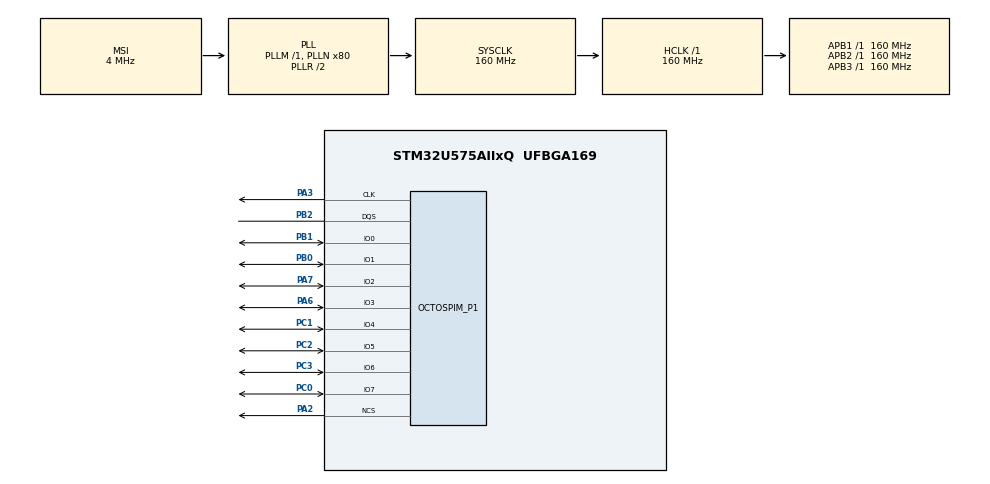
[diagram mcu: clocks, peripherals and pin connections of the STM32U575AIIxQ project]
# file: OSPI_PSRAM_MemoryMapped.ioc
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CORTEX_M33_NS.userName=CORTEX_M33
DCACHE1.DCACHE_Read_Burst_Type=DCACHE_READ_BURST_INCR
Mcu.Family=STM32U5
Mcu.Name=STM32U575AIIxQ
Mcu.Package=UFBGA169
NVIC.OCTOSPI1_IRQn=true\:0\:0\:false\:false\:true\:true\:true\:true
NVIC.PriorityGroup=NVIC_PRIORITYGROUP_4
OCTOSPI1.ChipSelectBoundary=10
OCTOSPI1.ChipSelectHighTime=2
OCTOSPI1.ClockPrescaler=2
OCTOSPI1.DelayBlockBypass=HAL_OSPI_DELAY_BLOCK_USED
OCTOSPI1.DelayHoldQuarterCycle=HAL_OSPI_DHQC_ENABLE
OCTOSPI1.DeviceSize=23
OCTOSPI1.FifoThreshold=1
OCTOSPI1.MemoryType=HAL_OSPI_MEMTYPE_APMEMORY
OCTOSPI1.PhaseSel=0
OCTOSPI1.Refresh=320
OCTOSPI1.Units=0
PA2.GPIO_PuPd=GPIO_NOPULL
PA2.GPIO_Speed_High_Default=GPIO_SPEED_FREQ_HIGH
PA2.Mode=OCTOSPI1_Port1_NCS
PA2.Signal=OCTOSPIM_P1_NCS
PA3.GPIO_Speed_High_Default=GPIO_SPEED_FREQ_HIGH
PA3.Mode=O1_P1_CLK
PA3.Signal=OCTOSPIM_P1_CLK
PA6.GPIO_Speed_High_Default=GPIO_SPEED_FREQ_HIGH
PA6.Mode=OCTOSPI1_IOL_Port1L
PA6.Signal=OCTOSPIM_P1_IO3
PA7.GPIO_Speed_High_Default=GPIO_SPEED_FREQ_HIGH
PA7.Mode=OCTOSPI1_IOL_Port1L
PA7.Signal=OCTOSPIM_P1_IO2
PB0.GPIO_Speed_High_Default=GPIO_SPEED_FREQ_HIGH
PB0.Mode=OCTOSPI1_IOL_Port1L
PB0.Signal=OCTOSPIM_P1_IO1
PB1.GPIO_Speed_High_Default=GPIO_SPEED_FREQ_HIGH
PB1.Mode=OCTOSPI1_IOL_Port1L
PB1.Signal=OCTOSPIM_P1_IO0
PB12.GPIO_Speed_High_Default=GPIO_SPEED_FREQ_HIGH
PB12.Signal=OCTOSPIM_P1_NCLK
PB2.GPIO_PuPd=GPIO_NOPULL
PB2.GPIO_Speed_High_Default=GPIO_SPEED_FREQ_HIGH
PB2.Mode=OCTOSPI1_Port1_DQS
PB2.Signal=OCTOSPIM_P1_DQS
PC0.GPIO_Speed_High_Default=GPIO_SPEED_FREQ_HIGH
PC0.Mode=OCTOSPI1_IOH_Port1H
PC0.Signal=OCTOSPIM_P1_IO7
PC1.GPIO_Speed_High_Default=GPIO_SPEED_FREQ_HIGH
PC1.Mode=OCTOSPI1_IOH_Port1H
PC1.Signal=OCTOSPIM_P1_IO4
PC2.GPIO_Speed_High_Default=GPIO_SPEED_FREQ_HIGH
PC2.Mode=OCTOSPI1_IOH_Port1H
PC2.Signal=OCTOSPIM_P1_IO5
PC3.GPIO_Speed_High_Default=GPIO_SPEED_FREQ_HIGH
PC3.Mode=OCTOSPI1_IOH_Port1H
PC3.Signal=OCTOSPIM_P1_IO6
PWR.PowerMode=PWR_SMPS_SUPPLY
ProjectManager.HeapSize=0x200
ProjectManager.StackSize=0x1000
ProjectManager.TargetToolchain=EWARM V8.50
RCC.ADCFreq_Value=16000000
RCC.AHBFreq_Value=160000000
RCC.APB1Freq_Value=160000000
RCC.APB1TimFreq_Value=160000000
RCC.APB2Freq_Value=160000000
RCC.APB2TimFreq_Value=160000000
RCC.APB3Freq_Value=160000000
RCC.CortexFreq_Value=160000000
RCC.DACCLockSelectionVirtual=RCC_DAC1CLKSOURCE_LSI
RCC.DACCLockSelectionVirtualString=RCC_DAC1CLKSOURCE_LSI
RCC.EPOD_VALUE=4000000
RCC.HCLKFreq_Value=160000000
RCC.HSE_VALUE=16000000
RCC.HSI48_VALUE=48000000
RCC.HSI_VALUE=16000000
RCC.LSE_VALUE=32768
RCC.LSIDIV_VALUE=32000
RCC.MSI_VALUE=4000000
RCC.PLLN=80
RCC.SYSCLKFreq_VALUE=160000000
RCC.SYSCLKSource=RCC_SYSCLKSOURCE_PLLCLK
RCC.USBFreq_Value=48000000
RCC.VCOOutputFreq_Value=320000000
VP_DCACHE1_VS_DCACHE.Mode=DCACHE_Activate
VP_ICACHE_VS_ICACHE.Mode=DirectMappedCache
VP_LPBAMQUEUE_VS_QUEUE.Mode=QUEUEMODE
VP_LPBAM_VS_SIG1.Mode=SmartRun
VP_LPBAM_VS_SIG4.Mode=LPDMA1
VP_OCTOSPI1_VS_octo.Mode=octo_mode
VP_PWR_VS_DBSignals.Mode=DisableDeadBatterySignals
VP_PWR_VS_LPOM.Mode=PowerOptimisation
VP_PWR_VS_SECSignals.Mode=Security/Privilege
board=custom

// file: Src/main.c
/* USER CODE BEGIN Header */
/**
  ******************************************************************************
  * @file           : main.c
  * @brief          : Main program body
  ******************************************************************************
  * @attention
  *
  * Copyright (c) 2021 STMicroelectronics.
  * All rights reserved.
  *
  * This software is licensed under terms that can be found in the LICENSE file
  * in the root directory of this software component.
  * If no LICENSE file comes with this software, it is provided AS-IS.
  *
  ******************************************************************************
  */
/* USER CODE END Header */
#include "main.h"

DCACHE_HandleTypeDef hdcache1;

OSPI_HandleTypeDef hospi1;

/* USER CODE BEGIN PV */
__IO uint8_t *mem_addr;
uint8_t CmdCplt, TxCplt , StatusMatch , RxCplt;
OSPI_MemoryMappedTypeDef sMemMappedCfg;
LL_DLYB_CfgTypeDef dlyb_cfg,dlyb_cfg_test;

/* Buffer used for transmission */
uint8_t aTxBuffer[BUFFERSIZE];
/* USER CODE END PV */

void SystemClock_Config(void);
static void SystemPower_Config(void);
static void MX_GPIO_Init(void);
static void MX_DCACHE1_Init(void);
static void MX_ICACHE_Init(void);
static void MX_OCTOSPI1_Init(void);
/* USER CODE BEGIN PFP */
void Configure_APMemory(void);
void EnableCompensationCell(void);
uint32_t APS6408_WriteReg(OSPI_HandleTypeDef *Ctx, uint32_t Address, uint8_t *Value);
uint32_t APS6408_ReadReg(OSPI_HandleTypeDef *Ctx, uint32_t Address, uint8_t *Value, uint32_t LatencyCode);
/* USER CODE END PFP */

int main(void)
{

  /* USER CODE BEGIN 1 */
  OSPI_RegularCmdTypeDef sCommand = {0};
  uint32_t index, index_K;
  uint16_t errorBuffer = 0;
  /* STM32U5xx HAL library initialization:
  - Configure the Flash prefetch
  - Configure the Systick to generate an interrupt each 1 msec
  - Set NVIC Group Priority to 3
  - Low Level Initialization
  */
  /* USER CODE END 1 */

  /* MCU Configuration--------------------------------------------------------*/

  /* Reset of all peripherals, Initializes the Flash interface and the Systick. */
  HAL_Init();

  /* Configure the System Power */
  SystemPower_Config();

  /* Configure the system clock */
  SystemClock_Config();

  /* Initialize all configured peripherals */
  MX_GPIO_Init();
  MX_DCACHE1_Init();
  MX_ICACHE_Init();
  MX_OCTOSPI1_Init();
  /* USER CODE BEGIN 2 */
  BSP_LED_Init(LED_GREEN);
  BSP_LED_Init(LED_RED);
  /* Enable Compensation cell */
  EnableCompensationCell();
  /* Delay block configuration ------------------------------------------------ */
  if (HAL_OSPI_DLYB_GetClockPeriod(&hospi1,&dlyb_cfg) != HAL_OK)
  {
    Error_Handler() ;
  }

  /*when DTR, PhaseSel is divided by 4 (emperic value)*/
  dlyb_cfg.PhaseSel /=4;

  /* save the present configuration for check*/
  dlyb_cfg_test = dlyb_cfg;

  /*set delay block configuration*/
  HAL_OSPI_DLYB_SetConfig(&hospi1,&dlyb_cfg);

  /*check the set value*/
  HAL_OSPI_DLYB_GetConfig(&hospi1,&dlyb_cfg);
  if ((dlyb_cfg.PhaseSel != dlyb_cfg_test.PhaseSel) || (dlyb_cfg.Units != dlyb_cfg_test.Units))
  {
    Error_Handler() ;
  }

  /*Configure AP memory register */
  Configure_APMemory();

  /*Configure Memory Mapped mode*/
  sCommand.OperationType      = HAL_OSPI_OPTYPE_WRITE_CFG;
  sCommand.FlashId            = HAL_OSPI_FLASH_ID_1;
  sCommand.Instruction        = WRITE_CMD;
  sCommand.InstructionMode    = HAL_OSPI_INSTRUCTION_8_LINES;
  sCommand.InstructionSize    = HAL_OSPI_INSTRUCTION_16_BITS;
  sCommand.InstructionDtrMode = HAL_OSPI_INSTRUCTION_DTR_ENABLE;
  sCommand.AddressMode        = HAL_OSPI_ADDRESS_8_LINES;
  sCommand.AddressSize        = HAL_OSPI_ADDRESS_32_BITS;
  sCommand.AddressDtrMode     = HAL_OSPI_ADDRESS_DTR_ENABLE;
  sCommand.AlternateBytesMode = HAL_OSPI_ALTERNATE_BYTES_NONE;
  sCommand.DataMode           = HAL_OSPI_DATA_8_LINES;
  sCommand.DataDtrMode        = HAL_OSPI_DATA_DTR_ENABLE;
  sCommand.DummyCycles        = DUMMY_CLOCK_CYCLES_WRITE;
  sCommand.DQSMode            = HAL_OSPI_DQS_ENABLE;
  sCommand.SIOOMode           = HAL_OSPI_SIOO_INST_EVERY_CMD;

  if (HAL_OSPI_Command(&hospi1, &sCommand, HAL_OSPI_TIMEOUT_DEFAULT_VALUE) != HAL_OK)
  {
    Error_Handler();
  }

  sCommand.OperationType = HAL_OSPI_OPTYPE_READ_CFG;
  sCommand.Instruction   = READ_CMD;
  sCommand.DummyCycles   = DUMMY_CLOCK_CYCLES_READ;

  if (HAL_OSPI_Command(&hospi1, &sCommand, HAL_OSPI_TIMEOUT_DEFAULT_VALUE) != HAL_OK)
  {
    Error_Handler();
  }

  sMemMappedCfg.TimeOutActivation = HAL_OSPI_TIMEOUT_COUNTER_ENABLE;
  sMemMappedCfg.TimeOutPeriod     = 0x34;

  if (HAL_OSPI_MemoryMapped(&hospi1, &sMemMappedCfg) != HAL_OK)
  {
    Error_Handler();
  }

  /*fill aTxBuffer */
  for (index_K = 0; index_K < 10; index_K++)
  {
    for (index = (index_K  * KByte); index < ((index_K +1) * KByte); index++)
    {
      aTxBuffer[index]=index + index_K;
    }
  }

  /* Writing Sequence ----------------------------------------------- */
  index_K=0;
  for (index_K = 0; index_K < 10; index_K++)
  {
    mem_addr = (uint8_t *)(OCTOSPI1_BASE + (index_K * KByte));
    for (index = (index_K  * KByte); index < ((index_K +1) * KByte); index++)
    {
      *mem_addr = aTxBuffer[index];
      mem_addr++;
    }

    /* In memory-mapped mode, not possible to check if the memory is ready
    after the programming. So a delay corresponding to max page programming
    time is added */
    HAL_Delay(1);
  }

  /* Reading Sequence ----------------------------------------------- */
  index_K=0;
  for (index_K = 0; index_K < 10; index_K++)
  {
    mem_addr = (uint8_t *)(OCTOSPI1_BASE + (index_K * KByte));
    for (index = (index_K  * KByte); index < ((index_K +1) * KByte); index++)
    {
      if (*mem_addr != aTxBuffer[index])
      {
        BSP_LED_On(LED_RED);
        errorBuffer++;
      }
      mem_addr++;
    }
  }
  if (errorBuffer == 0)
  {
    /* Turn LED7 on */
    BSP_LED_On(LED_GREEN);
  }

  /* Abort OctoSPI driver to stop the memory-mapped mode ------------ */
  if (HAL_OSPI_Abort(&hospi1) != HAL_OK)
  {
    Error_Handler();
  }
  /* USER CODE END 2 */

  /* Infinite loop */
  while (1)
  {

  }
}

void SystemClock_Config(void)
{
  RCC_OscInitTypeDef RCC_OscInitStruct = {0};
  RCC_ClkInitTypeDef RCC_ClkInitStruct = {0};

  /** Configure the main internal regulator output voltage
  */
  if (HAL_PWREx_ControlVoltageScaling(PWR_REGULATOR_VOLTAGE_SCALE1) != HAL_OK)
  {
    Error_Handler();
  }

  /** Initializes the CPU, AHB and APB buses clocks
  */
  RCC_OscInitStruct.OscillatorType = RCC_OSCILLATORTYPE_MSI;
  RCC_OscInitStruct.MSIState = RCC_MSI_ON;
  RCC_OscInitStruct.MSICalibrationValue = RCC_MSICALIBRATION_DEFAULT;
  RCC_OscInitStruct.MSIClockRange = RCC_MSIRANGE_4;
  RCC_OscInitStruct.PLL.PLLState = RCC_PLL_ON;
  RCC_OscInitStruct.PLL.PLLSource = RCC_PLLSOURCE_MSI;
  RCC_OscInitStruct.PLL.PLLMBOOST = RCC_PLLMBOOST_DIV1;
  RCC_OscInitStruct.PLL.PLLM = 1;
  RCC_OscInitStruct.PLL.PLLN = 80;
  RCC_OscInitStruct.PLL.PLLP = 2;
  RCC_OscInitStruct.PLL.PLLQ = 2;
  RCC_OscInitStruct.PLL.PLLR = 2;
  RCC_OscInitStruct.PLL.PLLRGE = RCC_PLLVCIRANGE_0;
  RCC_OscInitStruct.PLL.PLLFRACN = 0;
  if (HAL_RCC_OscConfig(&RCC_OscInitStruct) != HAL_OK)
  {
    Error_Handler();
  }

  /** Initializes the CPU, AHB and APB buses clocks
  */
  RCC_ClkInitStruct.ClockType = RCC_CLOCKTYPE_HCLK|RCC_CLOCKTYPE_SYSCLK
                              |RCC_CLOCKTYPE_PCLK1|RCC_CLOCKTYPE_PCLK2
                              |RCC_CLOCKTYPE_PCLK3;
  RCC_ClkInitStruct.SYSCLKSource = RCC_SYSCLKSOURCE_PLLCLK;
  RCC_ClkInitStruct.AHBCLKDivider = RCC_SYSCLK_DIV1;
  RCC_ClkInitStruct.APB1CLKDivider = RCC_HCLK_DIV1;
  RCC_ClkInitStruct.APB2CLKDivider = RCC_HCLK_DIV1;
  RCC_ClkInitStruct.APB3CLKDivider = RCC_HCLK_DIV1;

  if (HAL_RCC_ClockConfig(&RCC_ClkInitStruct, FLASH_LATENCY_4) != HAL_OK)
  {
    Error_Handler();
  }
}

/**
  * @brief Power Configuration
  * @retval None
  */
static void SystemPower_Config(void)
{

  /*
   * Disable the internal Pull-Up in Dead Battery pins of UCPD peripheral
   */
  HAL_PWREx_DisableUCPDDeadBattery();

  /*
   * Switch to SMPS regulator instead of LDO
   */
  if (HAL_PWREx_ConfigSupply(PWR_SMPS_SUPPLY) != HAL_OK)
  {
    Error_Handler();
  }
}

static void MX_DCACHE1_Init(void)
{

  hdcache1.Instance = DCACHE1;
  hdcache1.Init.ReadBurstType = DCACHE_READ_BURST_INCR;
  if (HAL_DCACHE_Init(&hdcache1) != HAL_OK)
  {
    Error_Handler();
  }

}

static void MX_ICACHE_Init(void)
{

  /** Enable instruction cache in 1-way (direct mapped cache)
  */
  if (HAL_ICACHE_ConfigAssociativityMode(ICACHE_1WAY) != HAL_OK)
  {
    Error_Handler();
  }
  if (HAL_ICACHE_Enable() != HAL_OK)
  {
    Error_Handler();
  }

}

static void MX_OCTOSPI1_Init(void)
{

  OSPIM_CfgTypeDef sOspiManagerCfg = {0};
  HAL_OSPI_DLYB_CfgTypeDef HAL_OSPI_DLYB_Cfg_Struct = {0};

  /* OCTOSPI1 parameter configuration*/
  hospi1.Instance = OCTOSPI1;
  hospi1.Init.FifoThreshold = 1;
  hospi1.Init.DualQuad = HAL_OSPI_DUALQUAD_DISABLE;
  hospi1.Init.MemoryType = HAL_OSPI_MEMTYPE_APMEMORY;
  hospi1.Init.DeviceSize = 23;
  hospi1.Init.ChipSelectHighTime = 2;
  hospi1.Init.FreeRunningClock = HAL_OSPI_FREERUNCLK_DISABLE;
  hospi1.Init.ClockMode = HAL_OSPI_CLOCK_MODE_0;
  hospi1.Init.WrapSize = HAL_OSPI_WRAP_NOT_SUPPORTED;
  hospi1.Init.ClockPrescaler = 2;
  hospi1.Init.SampleShifting = HAL_OSPI_SAMPLE_SHIFTING_NONE;
  hospi1.Init.DelayHoldQuarterCycle = HAL_OSPI_DHQC_ENABLE;
  hospi1.Init.ChipSelectBoundary = 10;
  hospi1.Init.DelayBlockBypass = HAL_OSPI_DELAY_BLOCK_USED;
  hospi1.Init.MaxTran = 0;
  hospi1.Init.Refresh = 320;
  if (HAL_OSPI_Init(&hospi1) != HAL_OK)
  {
    Error_Handler();
  }
  sOspiManagerCfg.ClkPort = 1;
  sOspiManagerCfg.DQSPort = 1;
  sOspiManagerCfg.NCSPort = 1;
  sOspiManagerCfg.IOLowPort = HAL_OSPIM_IOPORT_1_LOW;
  sOspiManagerCfg.IOHighPort = HAL_OSPIM_IOPORT_1_HIGH;
  if (HAL_OSPIM_Config(&hospi1, &sOspiManagerCfg, HAL_OSPI_TIMEOUT_DEFAULT_VALUE) != HAL_OK)
  {
    Error_Handler();
  }
  HAL_OSPI_DLYB_Cfg_Struct.Units = 0;
  HAL_OSPI_DLYB_Cfg_Struct.PhaseSel = 0;
  if (HAL_OSPI_DLYB_SetConfig(&hospi1, &HAL_OSPI_DLYB_Cfg_Struct) != HAL_OK)
  {
    Error_Handler();
  }

}

static void MX_GPIO_Init(void)
{
  GPIO_InitTypeDef GPIO_InitStruct = {0};

  /* GPIO Ports Clock Enable */
  __HAL_RCC_GPIOC_CLK_ENABLE();
  __HAL_RCC_GPIOA_CLK_ENABLE();
  __HAL_RCC_GPIOB_CLK_ENABLE();

  /*Configure GPIO pin : PB12 */
  GPIO_InitStruct.Pin = GPIO_PIN_12;
  GPIO_InitStruct.Mode = GPIO_MODE_AF_PP;
  GPIO_InitStruct.Pull = GPIO_NOPULL;
  GPIO_InitStruct.Speed = GPIO_SPEED_FREQ_HIGH;
  GPIO_InitStruct.Alternate = GPIO_AF10_OCTOSPI1;
  HAL_GPIO_Init(GPIOB, &GPIO_InitStruct);

}

/* USER CODE BEGIN 4 */
/**
  * @brief  Rx Transfer completed callbacks.
  * @param  hospi: OSPI handle
  * @retval None
  */
void HAL_OSPI_RxCpltCallback(OSPI_HandleTypeDef *hospi)
{
  RxCplt++;
}

/**
  * @brief  Command completed callbacks.
  * @param  hospi: OSPI handle
  * @retval None
  */
void HAL_OSPI_CmdCpltCallback(OSPI_HandleTypeDef *hospi)
{
  CmdCplt++;
}

/**
  * @brief  Tx Transfer completed callbacks.
  * @param  hospi: OSPI handle
  * @retval None
  */
 void HAL_OSPI_TxCpltCallback(OSPI_HandleTypeDef *hospi)
{
  TxCplt++;
}

/**
  * @brief  Status Match callbacks
  * @param  hospi: OSPI handle
  * @retval None
  */
void HAL_OSPI_StatusMatchCallback(OSPI_HandleTypeDef *hospi)
{
  StatusMatch++;
}

/**
  * @brief  Transfer Error callback.
  * @param  hospi: OSPI handle
  * @retval None
  */
void HAL_OSPI_ErrorCallback(OSPI_HandleTypeDef *hospi)
{
  Error_Handler();
}

/**
  * @brief  Write mode register
  * @param  Ctx Component object pointer
  * @param  Address Register address
  * @param  Value Register value pointer
  * @retval error status
  */
uint32_t APS6408_WriteReg(OSPI_HandleTypeDef *Ctx, uint32_t Address, uint8_t *Value)
{
  OSPI_RegularCmdTypeDef sCommand1={0};

  /* Initialize the write register command */
  sCommand1.OperationType      = HAL_OSPI_OPTYPE_COMMON_CFG;
  sCommand1.InstructionMode    = HAL_OSPI_INSTRUCTION_8_LINES;
  sCommand1.InstructionSize    = HAL_OSPI_INSTRUCTION_8_BITS;
  sCommand1.InstructionDtrMode = HAL_OSPI_INSTRUCTION_DTR_DISABLE;
  sCommand1.Instruction        = WRITE_REG_CMD;
  sCommand1.AddressMode        = HAL_OSPI_ADDRESS_8_LINES;
  sCommand1.AddressSize        = HAL_OSPI_ADDRESS_32_BITS;
  sCommand1.AddressDtrMode     = HAL_OSPI_ADDRESS_DTR_ENABLE;
  sCommand1.Address            = Address;
  sCommand1.AlternateBytesMode = HAL_OSPI_ALTERNATE_BYTES_NONE;
  sCommand1.DataMode           = HAL_OSPI_DATA_8_LINES;
  sCommand1.DataDtrMode        = HAL_OSPI_DATA_DTR_ENABLE;
  sCommand1.NbData             = 2;
  sCommand1.DummyCycles        = 0;
  sCommand1.DQSMode            = HAL_OSPI_DQS_DISABLE;
  sCommand1.SIOOMode           = HAL_OSPI_SIOO_INST_EVERY_CMD;

  /* Configure the command */
  if (HAL_OSPI_Command(Ctx, &sCommand1, HAL_OSPI_TIMEOUT_DEFAULT_VALUE) != HAL_OK)
  {
    return HAL_ERROR;
  }

  /* Transmission of the data */
  if (HAL_OSPI_Transmit(Ctx, (uint8_t *)(Value), HAL_OSPI_TIMEOUT_DEFAULT_VALUE) != HAL_OK)
  {
    return HAL_ERROR;
  }

  return HAL_OK;
}

/**
  * @brief  Read mode register value
  * @param  Ctx Component object pointer
  * @param  Address Register address
  * @param  Value Register value pointer
  * @param  LatencyCode Latency used for the access
  * @retval error status
  */
uint32_t APS6408_ReadReg(OSPI_HandleTypeDef *Ctx, uint32_t Address, uint8_t *Value, uint32_t LatencyCode)
{
  OSPI_RegularCmdTypeDef sCommand = {0};

  /* Initialize the read register command */
  sCommand.OperationType      = HAL_OSPI_OPTYPE_COMMON_CFG;
  sCommand.InstructionMode    = HAL_OSPI_INSTRUCTION_8_LINES;
  sCommand.InstructionSize    = HAL_OSPI_INSTRUCTION_8_BITS;
  sCommand.InstructionDtrMode = HAL_OSPI_INSTRUCTION_DTR_DISABLE;
  sCommand.Instruction        = READ_REG_CMD;
  sCommand.AddressMode        = HAL_OSPI_ADDRESS_8_LINES;
  sCommand.AddressSize        = HAL_OSPI_ADDRESS_32_BITS;
  sCommand.AddressDtrMode     = HAL_OSPI_ADDRESS_DTR_ENABLE;
  sCommand.Address            = Address;
  sCommand.AlternateBytesMode = HAL_OSPI_ALTERNATE_BYTES_NONE;
  sCommand.DataMode           = HAL_OSPI_DATA_8_LINES;
  sCommand.DataDtrMode        = HAL_OSPI_DATA_DTR_ENABLE;
  sCommand.NbData             = 2;
  sCommand.DummyCycles        = (LatencyCode - 1U);
  sCommand.DQSMode            = HAL_OSPI_DQS_ENABLE;
  sCommand.SIOOMode           = HAL_OSPI_SIOO_INST_EVERY_CMD;

  /* Configure the command */
  if (HAL_OSPI_Command(Ctx, &sCommand, HAL_OSPI_TIMEOUT_DEFAULT_VALUE) != HAL_OK)
  {
    return HAL_ERROR;
  }

  /* Reception of the data */
  if (HAL_OSPI_Receive(Ctx, (uint8_t *)Value, HAL_OSPI_TIMEOUT_DEFAULT_VALUE) != HAL_OK)
  {
    return HAL_ERROR;
  }

  return HAL_OK;
}

/**
  * @brief Enable Compensation Cell
  * @retval None
  */
void EnableCompensationCell(void)
{
  __HAL_RCC_SYSCFG_CLK_ENABLE() ;
  HAL_SYSCFG_EnableVddCompensationCell();
}

/**
  * @brief Configure AP memory
  * @retval None
  */
void Configure_APMemory(void)
{
  /* MR0 register for read and write */
  uint8_t regW_MR0[2]={0x24,0x8D}; /* To configure AP memory Latency Type and drive Strength */
  uint8_t regR_MR0[2]={0};

  /* MR8 register for read and write */
  uint8_t regW_MR8[2]={0x0B,0x08}; /* To configure AP memory Burst Type */
  uint8_t regR_MR8[2]={0};

  /*Read Latency */
  uint8_t latency=6;

  /* Configure Read Latency and drive Strength */
  if (APS6408_WriteReg(&hospi1, MR0, regW_MR0) != HAL_OK)
  {
    Error_Handler();
  }

  /* Check MR0 configuration */
  if (APS6408_ReadReg(&hospi1, MR0, regR_MR0, latency ) != HAL_OK)
  {
    Error_Handler();
  }

    /* Check MR0 configuration */
  if (regR_MR0 [0] != regW_MR0 [0])
  {
    Error_Handler() ;
  }

  /* Configure Burst Length */
  if (APS6408_WriteReg(&hospi1, MR8, regW_MR8) != HAL_OK)
  {
    Error_Handler();
  }

  /* Check MR8 configuration */
  if (APS6408_ReadReg(&hospi1, MR8, regR_MR8, 6) != HAL_OK)
  {
    Error_Handler();
  }

  if (regR_MR8[0] != regW_MR8[0])
  {
    Error_Handler() ;
  }
}
/* USER CODE END 4 */

void Error_Handler(void)
{
  /* USER CODE BEGIN Error_Handler_Debug */
  /* User can add his own implementation to report the HAL error return state */
  BSP_LED_On(LED6);
  __disable_irq();
  while (1)
  {
  }
  /* USER CODE END Error_Handler_Debug */
}
